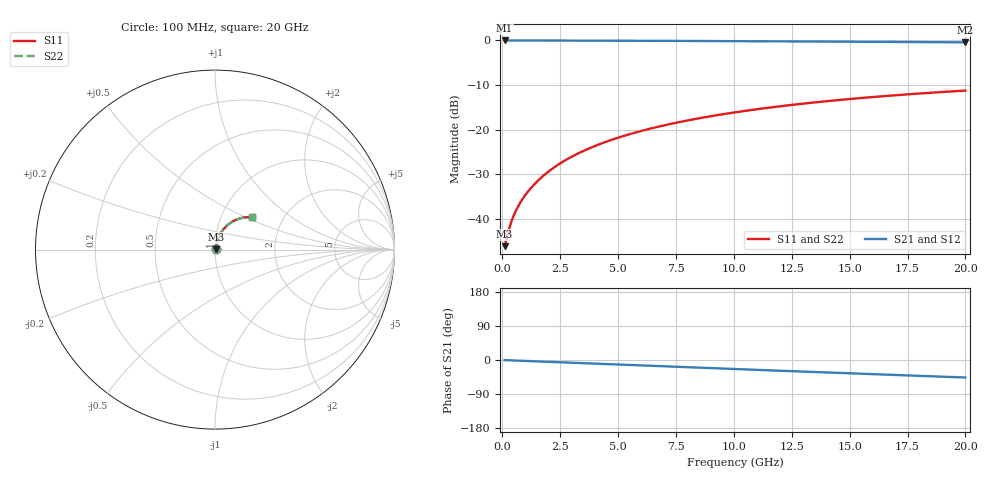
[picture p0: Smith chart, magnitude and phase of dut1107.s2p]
! Touchstone file exported from HFSS 2026.1.0
!  File:  C:/ffzhzh/LocalFiles/Ansys_Project_Files/temp_train_TMRDL_1107_1783161364_51560.aedt
!  Generated:  06:37:13 PM Jul  4, 2026
!  Design:  TMRDL
!  Project:  temp_train_TMRDL_1107_1783161364_51560
! Variables:
!  h_bsmrdl = 2um
!  h_ox = 20um
!  h_rdl = 5um
!  h_sub = 80um
!  h_tmrdl = 2.27um
!  h_tsv = 80um
!  h_via = 3um
!  l_bsmrdl = 300um
!  l_sub = 1147.83um
!  l_tmrdl = 747.83um
!  m_sub = 200um
!  pitch = 42.23um
!  r_tsv = 6um
!  s_tmrdl = 10um
!  w_bsmrdl = 18um
!  w_sub = 500um
!  w_tmrdl = 28.48um
!  x_tsv_center1 = 762.07um
!  x_tsv_center2 = 1080.07um
!  x_tsv_center3 = 1856.38um
!  x_tsv_center4 = 2174.38um
!  x_tsv_center5 = 2950.69um
!  x_tsv_center6 = 3268.69um
# GHz S MA R 50.000000
! Terminal data exported
! Port[1] = TM_RDL1_1_T1
! Port[2] = TM_RDL1_1_T2
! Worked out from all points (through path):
!   200 points, 100 MHz to 20 GHz, reference 50 ohm
!   highest |S21| = -0.04 dB at 100 MHz (marker M1); lowest = -0.5 dB at 20 GHz (marker M2)
!   group delay of S21, straight-line fit = 6.42 ps
!   lowest |S11| = -46.2 dB at 100 MHz (marker M3), VSWR 1.01, Z = 50.4 + j0.21 ohm
!   |S11| at or under -10 dB: start of sweep to end of sweep
!   |S22| runs from -46.2 to -11.3 dB; largest |S21 - S12| = 3.2e-15
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0.1  0.004924 24.9  0.9955 -0.3  0.9955 -0.3  0.004924 24.9
! Gamma 0 0 0 0
! Port Impedance 50 0 50 0
0.3  0.007796 49.5  0.995 -0.8  0.995 -0.8  0.007796 49.5
0.4  0.009394 54.7  0.9947 -1.0  0.9947 -1.0  0.009394 54.7
0.5  0.01096 58.2  0.9944 -1.3  0.9944 -1.3  0.01096 58.2
0.6  0.01249 60.8  0.9941 -1.5  0.9941 -1.5  0.01249 60.8
0.8  0.0155 64.6  0.9937 -2.0  0.9937 -2.0  0.0155 64.6
1  0.0185 67.3  0.9935 -2.5  0.9935 -2.5  0.0185 67.3
1.2  0.02152 69.3  0.9932 -2.9  0.9932 -2.9  0.02152 69.3
1.7  0.02919 72.4  0.9928 -4.1  0.9928 -4.1  0.02919 72.4
2.2  0.03698 73.8  0.9924 -5.3  0.9924 -5.3  0.03698 73.8
2.8  0.04642 74.4  0.9918 -6.8  0.9918 -6.8  0.04642 74.4
3.5  0.05745 74.3  0.9911 -8.4  0.9911 -8.4  0.05745 74.2
4.2  0.06845 73.6  0.9901 -10.1  0.9901 -10.1  0.06845 73.6
5  0.08093 72.5  0.9889 -12.0  0.9889 -12.0  0.08094 72.5
5.9  0.09481 71.0  0.9874 -14.1  0.9874 -14.1  0.09482 71.0
6.8  0.1085 69.3  0.9856 -16.3  0.9856 -16.3  0.1085 69.3
8.3  0.1307 66.3  0.9823 -19.8  0.9823 -19.8  0.1308 66.2
10.1  0.1564 62.5  0.9778 -24.0  0.9778 -24.0  0.1564 62.4
11.7  0.1782 59.0  0.9735 -27.7  0.9735 -27.7  0.1782 59.0
13.4  0.2001 55.3  0.9685 -31.5  0.9685 -31.5  0.2002 55.3
16.7  0.2391 48.2  0.9585 -38.9  0.9585 -38.9  0.2392 48.1
20  0.273 41.2  0.9485 -46.2  0.9485 -46.2  0.2731 41.1
